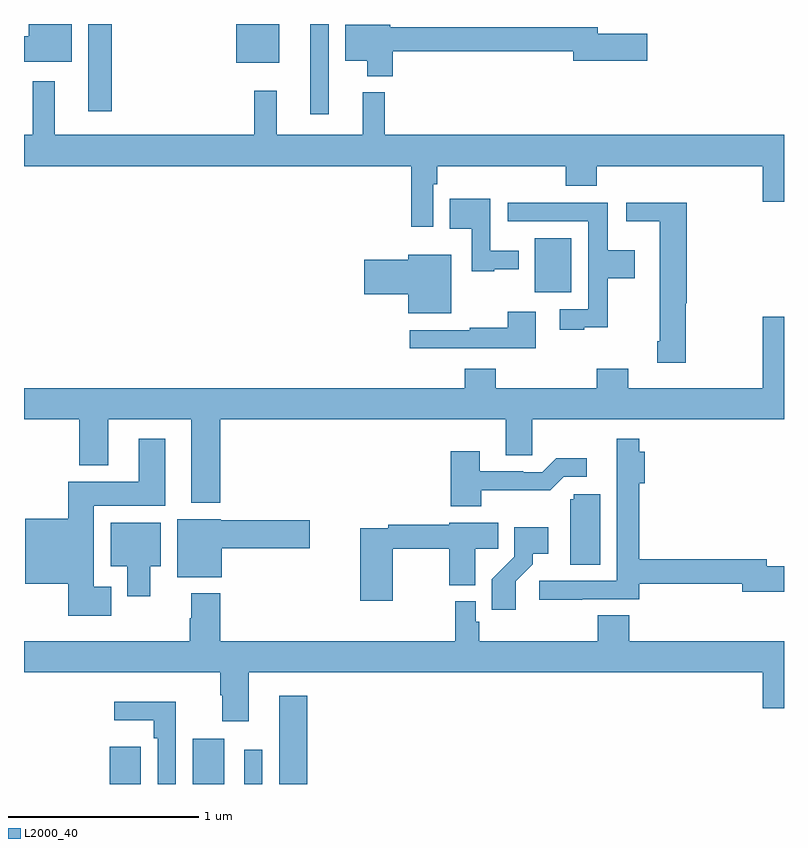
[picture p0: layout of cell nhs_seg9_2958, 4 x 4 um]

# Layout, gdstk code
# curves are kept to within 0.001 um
import gdstk
lib = gdstk.Library(unit=1e-6, precision=1e-09)
def R(c, l, rs):  # rectangles x0, y0, x1, y1
    for r in rs: c.add(gdstk.rectangle(r[:2], r[2:], *l))
def P(c, l, *ps):  # polygons
    for p in ps: c.add(gdstk.Polygon(p, *l))
L2000_40 = (2000, 40)

nhs_seg9_2958 = lib.new_cell('nhs_seg9_2958')
R(nhs_seg9_2958, L2000_40, [(281.45,1194.5,281.614,1194.697), (281.888,1194.5,282.055,1194.739), (282.159,1194.5,282.255,1194.679), (282.344,1194.5,282.491,1194.964), (283.688,1197.089,283.879,1197.373), (282.506,1198.026,282.603,1198.5), (281.339,1198.041,281.461,1198.5), (282.116,1198.295,282.343,1198.5)])
P(nhs_seg9_2958, L2000_40, [(281.251,1198.5),(281.024,1198.5),(281.024,1198.436),(281,1198.436),(281,1198.301),(281.251,1198.301)],
  [(282.941,1198.356),(283.892,1198.356),(283.892,1198.306),(284.281,1198.306),(284.281,1198.448),(284.02,1198.448),(284.02,1198.484),(282.928,1198.484),(282.928,1198.495),(282.692,1198.495),(282.692,1198.307),(282.806,1198.307),(282.806,1198.226),(282.941,1198.226)],
  [(283.155,1197.656),(283.175,1197.656),(283.175,1197.752),(283.85,1197.752),(283.85,1197.65),(284.015,1197.65),(284.015,1197.752),(284.888,1197.752),(284.888,1197.564),(285,1197.564),(285,1197.916),(282.899,1197.916),(282.899,1198.141),(282.782,1198.141),(282.782,1197.916),(282.329,1197.916),(282.329,1198.15),(282.211,1198.15),(282.211,1197.916),(281.161,1197.916),(281.161,1198.198),(281.047,1198.198),(281.047,1197.916),(281,1197.916),(281,1197.752),(283.039,1197.752),(283.039,1197.432),(283.155,1197.432)],
  [(283.476,1197.208),(283.603,1197.208),(283.603,1197.307),(283.455,1197.307),(283.455,1197.58),(283.24,1197.58),(283.24,1197.422),(283.356,1197.422),(283.356,1197.198),(283.476,1197.198)],
  [(283.949,1196.903),(284.072,1196.903),(284.072,1197.163),(284.215,1197.163),(284.215,1197.31),(284.072,1197.31),(284.072,1197.558),(283.766,1197.558),(283.766,1197.56),(283.545,1197.56),(283.545,1197.462),(283.971,1197.462),(283.971,1197),(283.821,1197),(283.821,1196.892),(283.949,1196.892)],
  [(284.484,1197.03),(284.489,1197.03),(284.489,1197.56),(284.169,1197.56),(284.169,1197.461),(284.345,1197.461),(284.345,1196.83),(284.333,1196.83),(284.333,1196.718),(284.484,1196.718)],
  [(283.249,1197.286),(283.022,1197.286),(283.022,1197.26),(282.792,1197.26),(282.792,1197.077),(283.022,1197.077),(283.022,1196.978),(283.249,1196.978)],
  [(283.693,1196.986),(283.546,1196.986),(283.546,1196.902),(283.345,1196.902),(283.345,1196.889),(283.029,1196.889),(283.029,1196.793),(283.693,1196.793)],
  [(281,1196.42),(281.291,1196.42),(281.291,1196.177),(281.443,1196.177),(281.443,1196.42),(281.879,1196.42),(281.879,1195.979),(282.032,1195.979),(282.032,1196.42),(283.535,1196.42),(283.535,1196.23),(283.674,1196.23),(283.674,1196.42),(285,1196.42),(285,1196.959),(284.888,1196.959),(284.888,1196.584),(284.18,1196.584),(284.18,1196.686),(284.015,1196.686),(284.015,1196.584),(283.484,1196.584),(283.484,1196.686),(283.319,1196.686),(283.319,1196.584),(281,1196.584)],
  [(283.937,1195.473),(284.237,1195.473),(284.237,1195.554),(284.78,1195.554),(284.78,1195.511),(285,1195.511),(285,1195.646),(284.908,1195.646),(284.908,1195.682),(284.237,1195.682),(284.237,1196.083),(284.267,1196.083),(284.267,1196.248),(284.237,1196.248),(284.237,1196.317),(284.12,1196.317),(284.12,1196.094),(284.121,1196.094),(284.121,1195.569),(283.713,1195.569),(283.713,1195.471),(283.937,1195.471)],
  [(281.458,1195.537),(281.368,1195.537),(281.368,1195.964),(281.743,1195.964),(281.743,1196.317),(281.603,1196.317),(281.603,1196.092),(281.234,1196.092),(281.234,1195.897),(281.006,1195.897),(281.006,1195.553),(281.234,1195.553),(281.234,1195.385),(281.458,1195.385)],
  [(283.407,1196.046),(283.769,1196.045),(283.842,1196.118),(283.963,1196.118),(283.963,1196.215),(283.801,1196.215),(283.728,1196.142),(283.628,1196.142),(283.628,1196.145),(283.399,1196.145),(283.399,1196.251),(283.247,1196.251),(283.247,1195.961),(283.407,1195.961)],
  [(284.032,1196.025),(283.893,1196.025),(283.893,1195.998),(283.874,1195.998),(283.874,1195.654),(284.032,1195.654)],
  [(282.04,1195.742),(282.505,1195.742),(282.505,1195.889),(282.036,1195.889),(282.036,1195.894),(281.807,1195.894),(281.807,1195.589),(282.04,1195.589)],
  [(281.665,1195.646),(281.719,1195.646),(281.719,1195.876),(281.456,1195.876),(281.456,1195.646),(281.543,1195.646),(281.543,1195.488),(281.665,1195.488)],
  [(282.94,1195.737),(283.238,1195.737),(283.238,1195.547),(283.375,1195.547),(283.375,1195.738),(283.496,1195.738),(283.496,1195.876),(283.238,1195.876),(283.238,1195.865),(282.916,1195.865),(282.916,1195.845),(282.77,1195.845),(282.77,1195.464),(282.94,1195.464)],
  [(283.588,1195.567),(283.678,1195.657),(283.678,1195.712),(283.759,1195.712),(283.759,1195.852),(283.581,1195.852),(283.581,1195.697),(283.462,1195.578),(283.462,1195.416),(283.588,1195.416)],
  [(282.184,1195.088),(284.888,1195.088),(284.888,1194.9),(285,1194.9),(285,1195.252),(284.186,1195.252),(284.186,1195.388),(284.021,1195.388),(284.021,1195.252),(283.397,1195.252),(283.397,1195.353),(283.377,1195.353),(283.377,1195.462),(283.269,1195.462),(283.269,1195.252),(282.032,1195.252),(282.032,1195.504),(281.879,1195.504),(281.879,1195.373),(281.872,1195.373),(281.872,1195.252),(281,1195.252),(281,1195.088),(282.032,1195.088),(282.032,1194.968),(282.044,1194.968),(282.044,1194.831),(282.184,1194.831)],
  [(281.799,1194.934),(281.475,1194.934),(281.475,1194.836),(281.683,1194.836),(281.683,1194.74),(281.703,1194.74),(281.703,1194.5),(281.799,1194.5)])

lib.write_gds('nhs_seg9_2958.gds')
